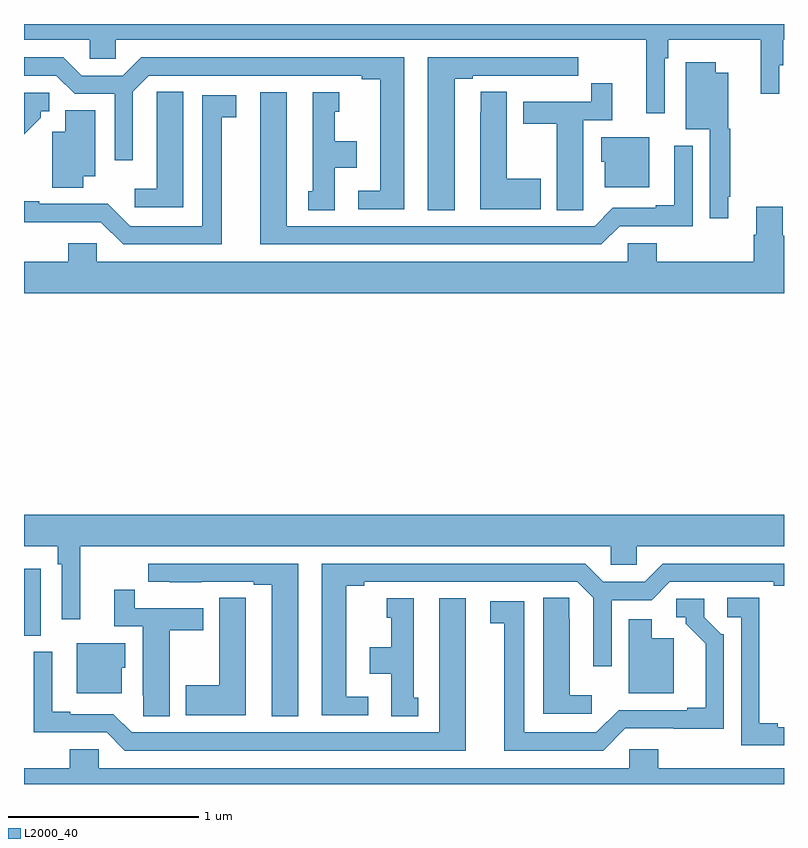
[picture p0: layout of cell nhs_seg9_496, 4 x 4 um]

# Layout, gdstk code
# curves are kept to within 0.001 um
import gdstk
lib = gdstk.Library(unit=1e-6, precision=1e-09)
def R(c, l, rs):  # rectangles x0, y0, x1, y1
    for r in rs: c.add(gdstk.rectangle(r[:2], r[2:], *l))
def P(c, l, *ps):  # polygons
    for p in ps: c.add(gdstk.Polygon(p, *l))
L2000_40 = (2000, 40)

nhs_seg9_496 = lib.new_cell('nhs_seg9_496')
R(nhs_seg9_496, L2000_40, [(135,1197.281,135.088,1197.634)])
P(nhs_seg9_496, L2000_40, [(138.372,1200.32),(138.392,1200.32),(138.392,1200.416),(138.877,1200.416),(138.877,1200.132),(138.976,1200.132),(138.976,1200.282),(138.995,1200.282),(138.995,1200.416),(139,1200.416),(139,1200.5),(135,1200.5),(135,1200.416),(135.345,1200.416),(135.345,1200.318),(135.483,1200.318),(135.483,1200.416),(138.275,1200.416),(138.275,1200.03),(138.372,1200.03)],
  [(137.002,1200.324),(135.617,1200.324),(135.521,1200.228),(135.303,1200.228),(135.207,1200.324),(135,1200.324),(135,1200.228),(135.171,1200.228),(135.267,1200.132),(135.477,1200.132),(135.477,1199.784),(135.573,1199.784),(135.573,1200.144),(135.657,1200.228),(136.778,1200.228),(136.778,1200.208),(136.874,1200.208),(136.874,1199.622),(136.758,1199.622),(136.758,1199.526),(137.002,1199.526)],
  [(137.266,1200.213),(137.362,1200.213),(137.362,1200.228),(137.638,1200.228),(137.638,1200.227),(137.804,1200.227),(137.804,1200.228),(137.917,1200.228),(137.917,1200.324),(137.126,1200.324),(137.126,1199.521),(137.266,1199.521)],
  [(138.706,1199.59),(138.718,1199.59),(138.718,1199.949),(138.706,1199.949),(138.706,1200.244),(138.64,1200.244),(138.64,1200.298),(138.482,1200.298),(138.482,1199.945),(138.609,1199.945),(138.609,1199.478),(138.706,1199.478)],
  [(137.943,1199.632),(137.944,1199.632),(137.944,1199.994),(138.095,1199.994),(138.095,1200.187),(137.986,1200.187),(137.986,1200.09),(137.627,1200.09),(137.627,1199.974),(137.804,1199.974),(137.804,1199.521),(137.943,1199.521)],
  [(135.838,1200.143),(135.699,1200.143),(135.699,1200.035),(135.698,1200.035),(135.698,1199.632),(135.582,1199.632),(135.582,1199.535),(135.838,1199.535)],
  [(137.719,1199.685),(137.542,1199.685),(137.542,1200.143),(137.403,1200.143),(137.403,1200.035),(137.402,1200.035),(137.402,1199.525),(137.719,1199.525)],
  [(136.636,1199.744),(136.75,1199.744),(136.75,1199.884),(136.636,1199.884),(136.636,1200.039),(136.66,1200.039),(136.66,1200.142),(136.52,1200.142),(136.52,1199.619),(136.496,1199.619),(136.496,1199.521),(136.636,1199.521)],
  [(138.135,1199.436),(138.519,1199.436),(138.519,1199.86),(138.422,1199.86),(138.422,1199.545),(138.326,1199.545),(138.326,1199.532),(138.099,1199.532),(138.003,1199.436),(136.384,1199.436),(136.384,1200.142),(136.244,1200.142),(136.244,1199.34),(138.039,1199.34)],
  [(135.088,1200.007),(135.088,1200.042),(135.133,1200.042),(135.133,1200.138),(135,1200.138),(135,1199.919)],
  [(136.042,1200.01),(136.117,1200.01),(136.117,1200.126),(135.938,1200.126),(135.938,1199.436),(135.558,1199.436),(135.44,1199.554),(135.079,1199.553),(135.079,1199.566),(135,1199.566),(135,1199.456),(135.405,1199.457),(135.522,1199.34),(136.042,1199.34)],
  [(135.313,1199.699),(135.376,1199.699),(135.376,1200.047),(135.218,1200.047),(135.218,1199.932),(135.149,1199.932),(135.149,1199.638),(135.313,1199.638)],
  [(138.292,1199.905),(138.038,1199.905),(138.038,1199.775),(138.056,1199.775),(138.056,1199.642),(138.292,1199.642)],
  [(139,1199.385),(138.994,1199.385),(138.994,1199.539),(138.854,1199.539),(138.854,1199.39),(138.842,1199.39),(138.842,1199.248),(138.329,1199.248),(138.329,1199.346),(138.177,1199.346),(138.177,1199.248),(135.384,1199.248),(135.384,1199.346),(135.233,1199.346),(135.233,1199.248),(135,1199.248),(135,1199.084),(139,1199.084)],
  [(135.296,1197.752),(138.087,1197.752),(138.087,1197.654),(138.225,1197.654),(138.225,1197.752),(139,1197.752),(139,1197.916),(135,1197.916),(135,1197.752),(135.178,1197.752),(135.178,1197.656),(135.198,1197.656),(135.198,1197.366),(135.296,1197.366)],
  [(136.444,1197.66),(135.654,1197.66),(135.654,1197.564),(135.766,1197.564),(135.766,1197.563),(135.932,1197.563),(135.932,1197.564),(136.208,1197.564),(136.208,1197.549),(136.304,1197.549),(136.304,1196.857),(136.444,1196.857)],
  [(136.813,1196.958),(136.696,1196.958),(136.696,1197.544),(136.792,1197.544),(136.792,1197.564),(137.913,1197.564),(137.997,1197.48),(137.997,1197.12),(138.093,1197.12),(138.093,1197.468),(138.303,1197.468),(138.399,1197.564),(138.947,1197.564),(138.947,1197.544),(139,1197.544),(139,1197.66),(138.363,1197.66),(138.267,1197.564),(138.049,1197.564),(137.953,1197.66),(136.568,1197.66),(136.568,1196.862),(136.813,1196.862)],
  [(135.766,1197.31),(135.943,1197.31),(135.943,1197.426),(135.584,1197.426),(135.584,1197.523),(135.476,1197.523),(135.476,1197.33),(135.626,1197.33),(135.626,1196.968),(135.627,1196.968),(135.627,1196.857),(135.766,1196.857)],
  [(139,1196.799),(138.967,1196.799),(138.967,1196.819),(138.871,1196.819),(138.871,1197.479),(138.702,1197.479),(138.702,1197.378),(138.774,1197.378),(138.774,1196.703),(139,1196.703)],
  [(137.989,1196.968),(137.872,1196.968),(137.872,1197.371),(137.871,1197.371),(137.871,1197.479),(137.732,1197.479),(137.732,1196.871),(137.989,1196.871)],
  [(136.168,1197.371),(136.167,1197.371),(136.167,1197.479),(136.028,1197.479),(136.028,1197.021),(135.851,1197.021),(135.851,1196.861),(136.168,1196.861)],
  [(137.326,1197.478),(137.186,1197.478),(137.186,1196.772),(135.567,1196.772),(135.471,1196.868),(135.244,1196.868),(135.244,1196.881),(135.148,1196.881),(135.148,1197.196),(135.051,1197.196),(135.051,1196.772),(135.435,1196.772),(135.531,1196.676),(137.326,1196.676)],
  [(137.074,1196.955),(137.05,1196.955),(137.05,1197.478),(136.91,1197.478),(136.91,1197.375),(136.934,1197.375),(136.934,1197.22),(136.82,1197.22),(136.82,1197.08),(136.934,1197.08),(136.934,1196.857),(137.074,1196.857)],
  [(138.165,1196.793),(138.684,1196.792),(138.684,1197.288),(138.669,1197.288),(138.579,1197.378),(138.579,1197.474),(138.432,1197.474),(138.432,1197.378),(138.482,1197.378),(138.482,1197.343),(138.587,1197.238),(138.587,1196.902),(138.491,1196.902),(138.491,1196.889),(138.129,1196.889),(138.012,1196.772),(137.632,1196.772),(137.632,1197.462),(137.454,1197.462),(137.454,1197.346),(137.528,1197.346),(137.528,1196.676),(138.048,1196.676)],
  [(138.421,1197.268),(138.304,1197.268),(138.304,1197.367),(138.182,1197.367),(138.182,1196.978),(138.421,1196.978)],
  [(135.514,1197.111),(135.532,1197.111),(135.532,1197.241),(135.278,1197.241),(135.278,1196.978),(135.514,1196.978)],
  [(139,1196.584),(138.338,1196.584),(138.338,1196.682),(138.186,1196.682),(138.186,1196.584),(135.393,1196.584),(135.393,1196.682),(135.242,1196.682),(135.242,1196.584),(135,1196.584),(135,1196.5),(139,1196.5)])

lib.write_gds('nhs_seg9_496.gds')
